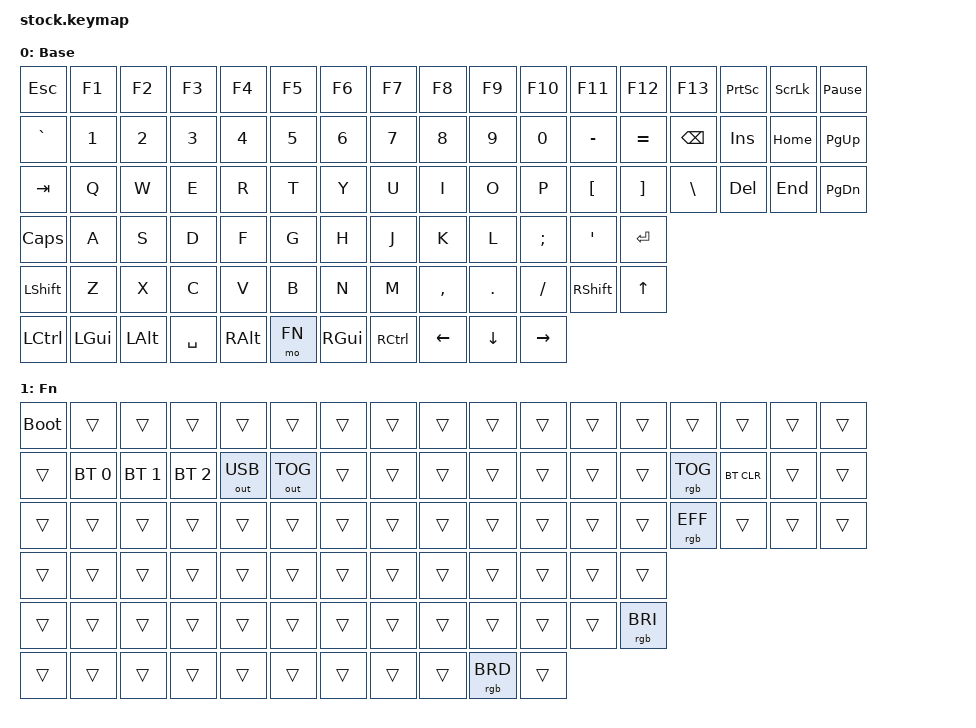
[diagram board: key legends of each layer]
/*
 * Wobkey Crush 80 — stock QWERTY keymap
 *
 * Layer 0: plain 88-key QWERTY, F1-F13 and the arrow cluster; Fn opens layer 1.
 * Layer 1: Fn: Bluetooth profiles 1-3 (1 2 3), USB (4), USB/Bluetooth toggle (5),
 *          Bluetooth clear (Ins), RGB on/off (Bspc), next effect (\), brightness
 *          (Up / Down), bootloader (Esc).
 *
 * The smallest keymap that builds: CRUSH80_KEYMAP=keymaps/stock.keymap bash build.sh
 * Its layer list differs from config/crush80.keymap, so raise CONFIG_CRUSH80_KEYMAP_REV
 * (zmk/Kconfig) when switching either way, or live edits saved for the other layout
 * land on the wrong layers.
 */

#define ZMK_BEHAVIORS_KEEP_ALL

#include <behaviors.dtsi>
#include <dt-bindings/zmk/keys.h>
#include <dt-bindings/zmk/bt.h>
#include <dt-bindings/zmk/outputs.h>
#include <dt-bindings/zmk/rgb.h>
#include <rainy_rgb.dtsi>
#include <dt-bindings/rainy_rgb.h>

#define BASE 0
#define FN   1

/ {
	keymap {
		compatible = "zmk,keymap";

		default_layer {
			display-name = "Base";
			bindings = <
				&kp ESC          &kp F1           &kp F2           &kp F3           &kp F4           &kp F5           &kp F6           &kp F7           &kp F8           &kp F9           &kp F10          &kp F11          &kp F12          &kp F13          &kp PSCRN        &kp SLCK         &kp PAUSE_BREAK
				&kp GRAVE        &kp N1           &kp N2           &kp N3           &kp N4           &kp N5           &kp N6           &kp N7           &kp N8           &kp N9           &kp N0           &kp MINUS        &kp EQUAL        &kp BSPC         &kp INS          &kp HOME         &kp PG_UP
				&kp TAB          &kp Q            &kp W            &kp E            &kp R            &kp T            &kp Y            &kp U            &kp I            &kp O            &kp P            &kp LBKT         &kp RBKT         &kp BSLH         &kp DEL          &kp END          &kp PG_DN
				&kp CAPS         &kp A            &kp S            &kp D            &kp F            &kp G            &kp H            &kp J            &kp K            &kp L            &kp SEMI         &kp SQT          &kp RET
				&kp LSHFT        &kp Z            &kp X            &kp C            &kp V            &kp B            &kp N            &kp M            &kp COMMA        &kp DOT          &kp FSLH         &kp RSHFT        &kp UP
				&kp LCTRL        &kp LGUI         &kp LALT         &kp SPACE        &kp RALT         &mo FN           &kp RGUI         &kp RCTRL        &kp LEFT         &kp DOWN         &kp RIGHT
			>;
		};

		fn_layer {
			display-name = "Fn";
			bindings = <
				&bootloader      &trans           &trans           &trans           &trans           &trans           &trans           &trans           &trans           &trans           &trans           &trans           &trans           &trans           &trans           &trans           &trans
				&trans           &bt BT_SEL 0     &bt BT_SEL 1     &bt BT_SEL 2     &out OUT_USB     &out OUT_TOG     &trans           &trans           &trans           &trans           &trans           &trans           &trans           &rgb RGB_TOG     &bt BT_CLR       &trans           &trans
				&trans           &trans           &trans           &trans           &trans           &trans           &trans           &trans           &trans           &trans           &trans           &trans           &trans           &rgb RGB_EFF     &trans           &trans           &trans
				&trans           &trans           &trans           &trans           &trans           &trans           &trans           &trans           &trans           &trans           &trans           &trans           &trans
				&trans           &trans           &trans           &trans           &trans           &trans           &trans           &trans           &trans           &trans           &trans           &trans           &rgb RGB_BRI
				&trans           &trans           &trans           &trans           &trans           &trans           &trans           &trans           &trans           &rgb RGB_BRD     &trans
			>;
		};
	};
};
